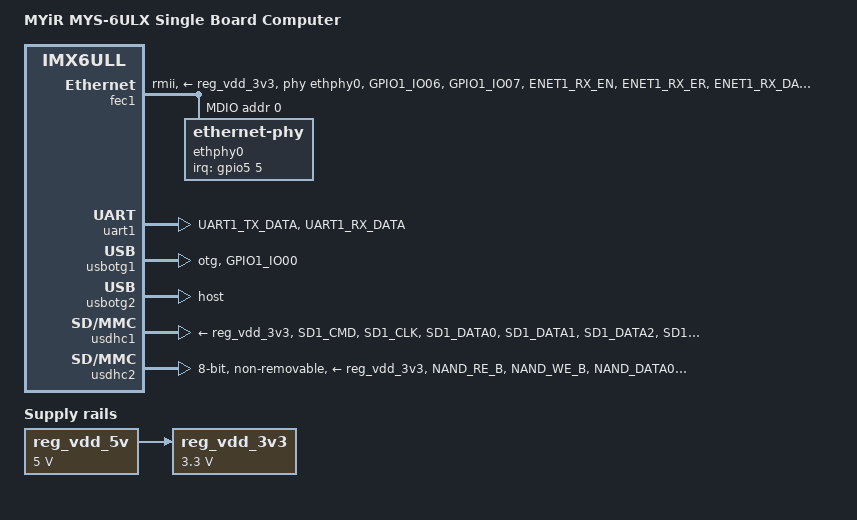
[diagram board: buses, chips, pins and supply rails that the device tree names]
// SPDX-License-Identifier: GPL-2.0
/*
 * Copyright (C) 2020 Linumiz
 * Author: Parthiban Nallathambi <parthiban@linumiz.com>
 */

#include <dt-bindings/gpio/gpio.h>
#include <dt-bindings/interrupt-controller/irq.h>
#include <dt-bindings/pwm/pwm.h>

/ {
	model = "MYiR MYS-6ULX Single Board Computer";
	compatible = "fsl,imx6ull";

	chosen {
		stdout-path = &uart1;
	};

	reg_vdd_5v: regulator-vdd-5v {
		compatible = "regulator-fixed";
		regulator-name = "VDD_5V";
		regulator-min-microvolt = <5000000>;
		regulator-max-microvolt = <5000000>;
		regulator-always-on;
		regulator-boot-on;
	};

	reg_vdd_3v3: regulator-vdd-3v3 {
		compatible = "regulator-fixed";
		regulator-name = "VDD_3V3";
		regulator-min-microvolt = <3300000>;
		regulator-max-microvolt = <3300000>;
		regulator-always-on;
		vin-supply = <&reg_vdd_5v>;
	};
};

&fec1 {
	pinctrl-names = "default";
	pinctrl-0 = <&pinctrl_enet1>;
	phy-mode = "rmii";
	phy-handle = <&ethphy0>;
	phy-supply = <&reg_vdd_3v3>;
	status = "okay";

	mdio: mdio {
		#address-cells = <1>;
		#size-cells = <0>;

		ethphy0: ethernet-phy@0 {
			reg = <0>;
			interrupt-parent = <&gpio5>;
			interrupts = <5 IRQ_TYPE_LEVEL_LOW>;
			clocks = <&clks IMX6UL_CLK_ENET_REF>;
			clock-names = "rmii-ref";
		};
	};
};

&gpmi {
	pinctrl-names = "default";
	pinctrl-0 = <&pinctrl_gpmi_nand>;
	nand-on-flash-bbt;
	status = "disabled";
};

&uart1 {
	pinctrl-names = "default";
	pinctrl-0 = <&pinctrl_uart1>;
	status = "okay";
};

&usbotg1 {
	pinctrl-names = "default";
	pinctrl-0 = <&pinctrl_usb_otg1_id>;
	dr_mode = "otg";
	status = "okay";
};

&usbotg2 {
	dr_mode = "host";
	disable-over-current;
	status = "okay";
};

&usdhc1 {
	pinctrl-names = "default", "state_100mhz", "state_200mhz";
	pinctrl-0 = <&pinctrl_usdhc1>;
	pinctrl-1 = <&pinctrl_usdhc1_100mhz>;
	pinctrl-2 = <&pinctrl_usdhc1_200mhz>;
	cd-gpios = <&gpio1 19 GPIO_ACTIVE_LOW>;
	no-1-8-v;
	keep-power-in-suspend;
	wakeup-source;
	vmmc-supply = <&reg_vdd_3v3>;
	status = "okay";
};

&usdhc2 {
	pinctrl-names = "default";
	pinctrl-0 = <&pinctrl_usdhc2>;
	pinctrl-1 = <&pinctrl_usdhc2_100mhz>;
	pinctrl-2 = <&pinctrl_usdhc2_200mhz>;
	bus-width = <8>;
	non-removable;
	keep-power-in-suspend;
	vmmc-supply = <&reg_vdd_3v3>;
};

&iomuxc {
	pinctrl_enet1: enet1grp {
		fsl,pins = <
			MX6UL_PAD_GPIO1_IO06__ENET1_MDIO	0x1b0b0
			MX6UL_PAD_GPIO1_IO07__ENET1_MDC		0x1b0b0
			MX6UL_PAD_ENET1_RX_EN__ENET1_RX_EN	0x1b0b0
			MX6UL_PAD_ENET1_RX_ER__ENET1_RX_ER	0x1b0b0
			MX6UL_PAD_ENET1_RX_DATA0__ENET1_RDATA00	0x1b0b0
			MX6UL_PAD_ENET1_RX_DATA1__ENET1_RDATA01	0x1b0b0
			MX6UL_PAD_ENET1_TX_EN__ENET1_TX_EN	0x1b0b0
			MX6UL_PAD_ENET1_TX_DATA0__ENET1_TDATA00	0x1b0b0
			MX6UL_PAD_ENET1_TX_DATA1__ENET1_TDATA01	0x1b0b0
			MX6UL_PAD_ENET1_TX_CLK__ENET1_REF_CLK1	0x4001b031
			MX6UL_PAD_SNVS_TAMPER5__GPIO5_IO05	0x1b0b0
		>;
	};

	pinctrl_gpmi_nand: gpminandgrp {
		fsl,pins = <
			MX6UL_PAD_NAND_CLE__RAWNAND_CLE		0x0b0b1
			MX6UL_PAD_NAND_ALE__RAWNAND_ALE		0x0b0b1
			MX6UL_PAD_NAND_WP_B__RAWNAND_WP_B	0x0b0b1
			MX6UL_PAD_NAND_READY_B__RAWNAND_READY_B	0x0b000
			MX6UL_PAD_NAND_CE0_B__RAWNAND_CE0_B	0x0b0b1
			MX6UL_PAD_NAND_RE_B__RAWNAND_RE_B	0x0b0b1
			MX6UL_PAD_NAND_WE_B__RAWNAND_WE_B	0x0b0b1
			MX6UL_PAD_NAND_DATA00__RAWNAND_DATA00	0x0b0b1
			MX6UL_PAD_NAND_DATA01__RAWNAND_DATA01	0x0b0b1
			MX6UL_PAD_NAND_DATA02__RAWNAND_DATA02	0x0b0b1
			MX6UL_PAD_NAND_DATA03__RAWNAND_DATA03	0x0b0b1
			MX6UL_PAD_NAND_DATA04__RAWNAND_DATA04	0x0b0b1
			MX6UL_PAD_NAND_DATA05__RAWNAND_DATA05	0x0b0b1
			MX6UL_PAD_NAND_DATA06__RAWNAND_DATA06	0x0b0b1
			MX6UL_PAD_NAND_DATA07__RAWNAND_DATA07	0x0b0b1
		>;
	};

	pinctrl_uart1: uart1grp {
		fsl,pins = <
			MX6UL_PAD_UART1_TX_DATA__UART1_DCE_TX	0x1b0b1
			MX6UL_PAD_UART1_RX_DATA__UART1_DCE_RX	0x1b0b1
		>;
	};

	pinctrl_usb_otg1_id: usbotg1idgrp {
		fsl,pins = <
			MX6UL_PAD_GPIO1_IO00__ANATOP_OTG1_ID	0x17059
		>;
	};

	pinctrl_usdhc1: usdhc1grp {
		fsl,pins = <
			MX6UL_PAD_SD1_CMD__USDHC1_CMD		0x17059
			MX6UL_PAD_SD1_CLK__USDHC1_CLK		0x10059
			MX6UL_PAD_SD1_DATA0__USDHC1_DATA0	0x17059
			MX6UL_PAD_SD1_DATA1__USDHC1_DATA1	0x17059
			MX6UL_PAD_SD1_DATA2__USDHC1_DATA2	0x17059
			MX6UL_PAD_SD1_DATA3__USDHC1_DATA3	0x17059
			MX6UL_PAD_UART1_RTS_B__GPIO1_IO19	0x17059
		>;
	};

	pinctrl_usdhc1_100mhz: usdhc1grp100mhz {
		fsl,pins = <
			MX6UL_PAD_SD1_CMD__USDHC1_CMD		0x170b9
			MX6UL_PAD_SD1_CLK__USDHC1_CLK		0x100b9
			MX6UL_PAD_SD1_DATA0__USDHC1_DATA0	0x170b9
			MX6UL_PAD_SD1_DATA1__USDHC1_DATA1	0x170b9
			MX6UL_PAD_SD1_DATA2__USDHC1_DATA2	0x170b9
			MX6UL_PAD_SD1_DATA3__USDHC1_DATA3	0x170b9
		>;
	};

	pinctrl_usdhc1_200mhz: usdhc1grp200mhz {
		fsl,pins = <
			MX6UL_PAD_SD1_CMD__USDHC1_CMD		0x170f9
			MX6UL_PAD_SD1_CLK__USDHC1_CLK		0x100f9
			MX6UL_PAD_SD1_DATA0__USDHC1_DATA0	0x170f9
			MX6UL_PAD_SD1_DATA1__USDHC1_DATA1	0x170f9
			MX6UL_PAD_SD1_DATA2__USDHC1_DATA2	0x170f9
			MX6UL_PAD_SD1_DATA3__USDHC1_DATA3	0x170f9
		>;
	};

	pinctrl_usdhc2: usdhc2grp {
		fsl,pins = <
			MX6UL_PAD_NAND_RE_B__USDHC2_CLK		0x10069
			MX6UL_PAD_NAND_WE_B__USDHC2_CMD		0x17059
			MX6UL_PAD_NAND_DATA00__USDHC2_DATA0	0x17059
			MX6UL_PAD_NAND_DATA01__USDHC2_DATA1	0x17059
			MX6UL_PAD_NAND_DATA02__USDHC2_DATA2	0x17059
			MX6UL_PAD_NAND_DATA03__USDHC2_DATA3	0x17059
			MX6UL_PAD_NAND_DATA04__USDHC2_DATA4	0x17059
			MX6UL_PAD_NAND_DATA05__USDHC2_DATA5	0x17059
			MX6UL_PAD_NAND_DATA06__USDHC2_DATA6	0x17059
			MX6UL_PAD_NAND_DATA07__USDHC2_DATA7	0x17059
		>;
	};

	pinctrl_usdhc2_100mhz: usdhc2grp100mhz {
		fsl,pins = <
			MX6UL_PAD_NAND_RE_B__USDHC2_CLK		0x100b9
			MX6UL_PAD_NAND_WE_B__USDHC2_CMD		0x170b9
			MX6UL_PAD_NAND_DATA00__USDHC2_DATA0	0x170b9
			MX6UL_PAD_NAND_DATA01__USDHC2_DATA1	0x170b9
			MX6UL_PAD_NAND_DATA02__USDHC2_DATA2	0x170b9
			MX6UL_PAD_NAND_DATA03__USDHC2_DATA3	0x170b9
			MX6UL_PAD_NAND_DATA04__USDHC2_DATA4	0x170b9
			MX6UL_PAD_NAND_DATA05__USDHC2_DATA5	0x170b9
			MX6UL_PAD_NAND_DATA06__USDHC2_DATA6	0x170b9
			MX6UL_PAD_NAND_DATA07__USDHC2_DATA7	0x170b9
		>;
	};

	pinctrl_usdhc2_200mhz: usdhc2grp200mhz {
		fsl,pins = <
			MX6UL_PAD_NAND_RE_B__USDHC2_CLK		0x100f9
			MX6UL_PAD_NAND_WE_B__USDHC2_CMD		0x170f9
			MX6UL_PAD_NAND_DATA00__USDHC2_DATA0	0x170f9
			MX6UL_PAD_NAND_DATA01__USDHC2_DATA1	0x170f9
			MX6UL_PAD_NAND_DATA02__USDHC2_DATA2	0x170f9
			MX6UL_PAD_NAND_DATA03__USDHC2_DATA3	0x170f9
			MX6UL_PAD_NAND_DATA04__USDHC2_DATA4	0x170f9
			MX6UL_PAD_NAND_DATA05__USDHC2_DATA5	0x170f9
			MX6UL_PAD_NAND_DATA06__USDHC2_DATA6	0x170f9
			MX6UL_PAD_NAND_DATA07__USDHC2_DATA7	0x170f9
		>;
	};
};
